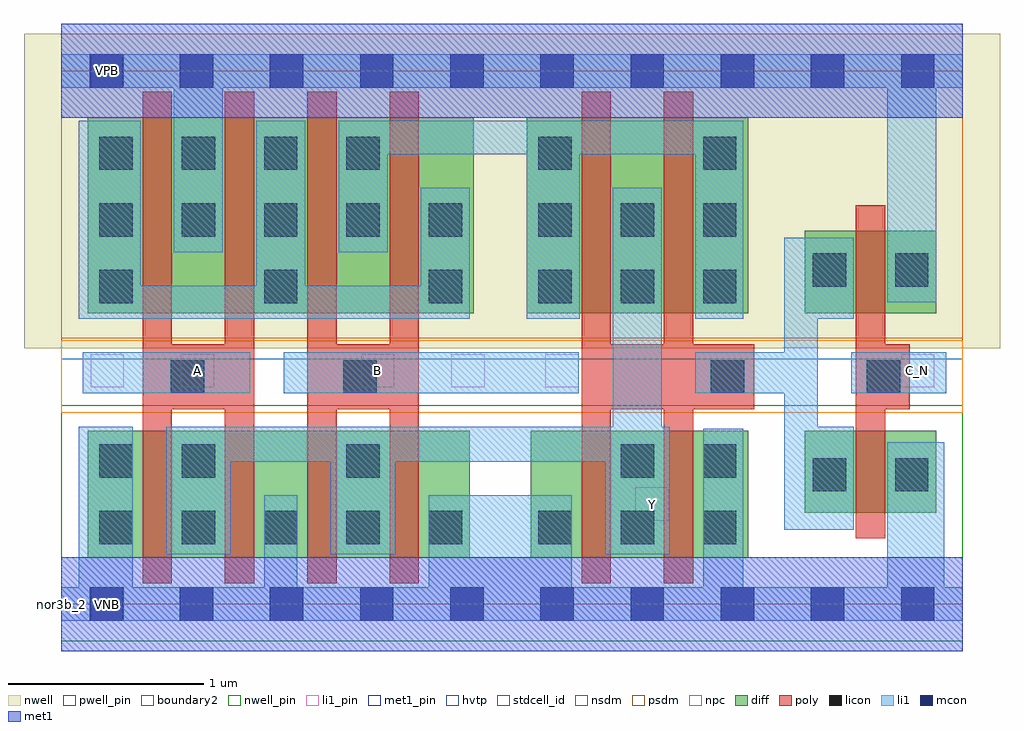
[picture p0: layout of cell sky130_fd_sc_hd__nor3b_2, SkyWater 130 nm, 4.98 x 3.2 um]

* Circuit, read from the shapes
.subckt sky130_fd_sc_hd__nor3b_2 A B C_N VGND VNB VPB VPWR Y
XM1 Y A VGND VNB sky130_fd_pr__nfet_01v8 w=0.65 l=0.15 m=2
XM2 Y B VGND VNB sky130_fd_pr__nfet_01v8 w=0.65 l=0.15 m=2
XM3 Y n1 VGND VNB sky130_fd_pr__nfet_01v8 w=0.65 l=0.15 m=2
XM4 VGND C_N n1 VNB sky130_fd_pr__nfet_01v8 w=0.42 l=0.15
XM5 VPWR A n2 VPB sky130_fd_pr__pfet_01v8_hvt w=1 l=0.15 m=2
XM6 n3 B n2 VPB sky130_fd_pr__pfet_01v8_hvt w=1 l=0.15 m=2
XM7 Y n1 n3 VPB sky130_fd_pr__pfet_01v8_hvt w=1 l=0.15 m=2
XM8 VPWR C_N n1 VPB sky130_fd_pr__pfet_01v8_hvt w=0.42 l=0.15
.ends

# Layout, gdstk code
import gdstk
lib = gdstk.Library(unit=1e-6, precision=1e-09)
def R(c, l, rs):  # rectangles x0, y0, x1, y1
    for r in rs: c.add(gdstk.rectangle(r[:2], r[2:], *l))
def A(c, l, x, y, w, h, nx, ny, dx, dy):  # array of equal rectangles
    R(c, l, [(x+i*dx, y+j*dy, x+i*dx+w, y+j*dy+h) for i in range(nx) for j in range(ny)])
def P(c, l, *ps):  # polygons
    for p in ps: c.add(gdstk.Polygon(p, *l))
nwell_pin = (64, 16)
nwell = (64, 20)
diff = (65, 20)
poly = (66, 20)
licon = (66, 44)
li1_pin = (67, 16)
li1 = (67, 20)
mcon = (67, 44)
met1_pin = (68, 16)
met1 = (68, 20)
hvtp = (78, 44)
stdcell_id = (81, 4)
nsdm = (93, 44)
psdm = (94, 20)
npc = (95, 20)
pwell_pin = (122, 16)
boundary2 = (236, 0)

sky130_fd_sc_hd__nor3b_2 = lib.new_cell('sky130_fd_sc_hd__nor3b_2')
R(sky130_fd_sc_hd__nor3b_2, nwell_pin, [(0.15,2.635,0.32,2.805)])
R(sky130_fd_sc_hd__nor3b_2, nwell, [(-0.19,1.305,4.79,2.91)])
R(sky130_fd_sc_hd__nor3b_2, diff, [(0.135,0.235,2.085,0.885), (2.395,0.235,3.505,0.885), (3.795,0.465,4.465,0.885), (0.135,1.485,2.105,2.485), (2.375,1.485,3.505,2.485), (3.795,1.485,4.465,1.905)])
R(sky130_fd_sc_hd__nor3b_2, poly, [(4.055,0.335,4.205,0.995), (4.055,0.995,4.33,1.325), (4.055,1.325,4.205,2.035)])
P(sky130_fd_sc_hd__nor3b_2, poly, [(1.825,2.615),(1.675,2.615),(1.675,1.325),(1.405,1.325),(1.405,2.615),(1.255,2.615),(1.255,0.105),(1.405,0.105),(1.405,0.995),(1.675,0.995),(1.675,0.105),(1.825,0.105)],
  [(3.535,1.325),(3.225,1.325),(3.225,2.615),(3.075,2.615),(3.075,1.325),(2.805,1.325),(2.805,2.615),(2.655,2.615),(2.655,0.105),(2.805,0.105),(2.805,0.995),(3.075,0.995),(3.075,0.105),(3.225,0.105),(3.225,0.995),(3.535,0.995)],
  [(0.985,2.615),(0.835,2.615),(0.835,1.325),(0.565,1.325),(0.565,2.615),(0.415,2.615),(0.415,0.105),(0.565,0.105),(0.565,0.995),(0.835,0.995),(0.835,0.105),(0.985,0.105)])
A(sky130_fd_sc_hd__nor3b_2, licon, 0.195, 0.305, 0.17, 0.17, 5, 2, 0.42, 1.57)
A(sky130_fd_sc_hd__nor3b_2, licon, 2.435, 0.305, 0.17, 0.17, 3, 2, 0.42, 1.23)
A(sky130_fd_sc_hd__nor3b_2, licon, 0.195, 1.535, 0.17, 0.17, 3, 1, 0.84, 0)
A(sky130_fd_sc_hd__nor3b_2, licon, 2.435, 1.875, 0.17, 0.17, 3, 1, 0.42, 0)
A(sky130_fd_sc_hd__nor3b_2, licon, 0.195, 2.215, 0.17, 0.17, 4, 1, 0.42, 0)
R(sky130_fd_sc_hd__nor3b_2, licon, [(3.835,0.575,4.005,0.745), (4.255,0.575,4.425,0.745), (0.195,0.645,0.365,0.815), (0.615,0.645,0.785,0.815), (1.455,0.645,1.625,0.815), (2.855,0.645,3.025,0.815), (3.275,0.645,3.445,0.815), (0.56,1.075,0.73,1.245), (1.44,1.075,1.61,1.245), (3.315,1.075,3.485,1.245), (4.11,1.075,4.28,1.245), (3.835,1.62,4.005,1.79), (4.255,1.62,4.425,1.79), (2.435,2.215,2.605,2.385), (3.275,2.215,3.445,2.385)])
R(sky130_fd_sc_hd__nor3b_2, li1_pin, [(2.93,0.425,3.1,0.595), (0.15,1.105,0.32,1.275), (0.61,1.105,0.78,1.275), (1.53,1.105,1.7,1.275), (1.99,1.105,2.16,1.275), (2.47,1.105,2.64,1.275), (4.285,1.105,4.455,1.275)])
R(sky130_fd_sc_hd__nor3b_2, li1, [(0.11,1.075,0.965,1.285), (1.135,1.075,2.64,1.285), (4.03,1.075,4.515,1.285)])
P(sky130_fd_sc_hd__nor3b_2, li1, [(4.6,0.085),(4.505,0.085),(4.505,0.825),(4.215,0.825),(4.215,0.085),(3.48,0.085),(3.48,0.895),(3.275,0.895),(3.275,0.085),(2.605,0.085),(2.605,0.555),(1.875,0.555),(1.875,0.085),(1.205,0.085),(1.205,0.555),(1.035,0.555),(1.035,0.085),(0.365,0.085),(0.365,0.905),(0.09,0.905),(0.09,0.085),(0,0.085),(0,-0.085),(4.6,-0.085)],
  [(4.6,2.805),(0,2.805),(0,2.635),(0.575,2.635),(0.575,1.795),(0.825,1.795),(0.825,2.635),(4.215,2.635),(4.215,1.54),(4.465,1.54),(4.465,2.635),(4.6,2.635)],
  [(2.085,2.125),(1.835,2.125),(1.835,1.625),(1.245,1.625),(1.245,2.465),(0.995,2.465),(0.995,1.625),(0.405,1.625),(0.405,2.465),(0.09,2.465),(0.09,1.455),(2.085,1.455)],
  [(3.105,0.905),(3.065,0.905),(3.065,2.125),(2.815,2.125),(2.815,0.905),(0.535,0.905),(0.535,0.255),(0.865,0.255),(0.865,0.725),(1.375,0.725),(1.375,0.255),(1.705,0.255),(1.705,0.725),(2.775,0.725),(2.775,0.255),(3.105,0.255)],
  [(3.48,2.465),(1.415,2.465),(1.415,1.795),(1.665,1.795),(1.665,2.295),(2.375,2.295),(2.375,1.455),(2.645,1.455),(2.645,2.295),(3.235,2.295),(3.235,1.455),(3.48,1.455)],
  [(4.045,0.905),(3.86,0.905),(3.86,1.455),(4.045,1.455),(4.045,1.87),(3.69,1.87),(3.69,1.285),(3.235,1.285),(3.235,1.075),(3.69,1.075),(3.69,0.38),(4.045,0.38)])
A(sky130_fd_sc_hd__nor3b_2, mcon, 0.145, -0.085, 0.17, 0.17, 10, 2, 0.46, 2.72)
R(sky130_fd_sc_hd__nor3b_2, met1_pin, [(0.15,-0.085,0.32,0.085), (0.15,2.635,0.32,2.805)])
R(sky130_fd_sc_hd__nor3b_2, hvtp, [(0,1.25,4.6,2.72)])
R(sky130_fd_sc_hd__nor3b_2, stdcell_id, [(0,0,4.6,2.72)])
R(sky130_fd_sc_hd__nor3b_2, nsdm, [(0,-0.19,4.6,1.015)])
R(sky130_fd_sc_hd__nor3b_2, psdm, [(0,1.355,4.6,2.91)])
R(sky130_fd_sc_hd__nor3b_2, npc, [(0,0.975,4.6,1.345)])
R(sky130_fd_sc_hd__nor3b_2, pwell_pin, [(0.15,-0.085,0.32,0.085)])
R(sky130_fd_sc_hd__nor3b_2, boundary2, [(0,0,4.6,2.72)])
sky130_fd_sc_hd__nor3b_2.add(gdstk.FlexPath([(0,2.72),(4.6,2.72)], 0.48, ends="flush", simple_path=True, layer=68, datatype=20))  # met1
sky130_fd_sc_hd__nor3b_2.add(gdstk.FlexPath([(0,0),(4.6,0)], 0.48, ends="flush", simple_path=True, layer=68, datatype=20))  # met1
sky130_fd_sc_hd__nor3b_2.add(gdstk.Label('C_N', (4.37,1.19), layer=67, texttype=5))
sky130_fd_sc_hd__nor3b_2.add(gdstk.Label('Y', (3.015,0.51), layer=67, texttype=5))
sky130_fd_sc_hd__nor3b_2.add(gdstk.Label('A', (0.695,1.19), layer=67, texttype=5))
sky130_fd_sc_hd__nor3b_2.add(gdstk.Label('B', (1.615,1.19), layer=67, texttype=5))
sky130_fd_sc_hd__nor3b_2.add(gdstk.Label('VPB', (0.235,2.72), layer=64, texttype=5))
sky130_fd_sc_hd__nor3b_2.add(gdstk.Label('VNB', (0.235,0), layer=64, texttype=59))
sky130_fd_sc_hd__nor3b_2.add(gdstk.Label('VGND', (0.235,0), layer=68, texttype=5))
sky130_fd_sc_hd__nor3b_2.add(gdstk.Label('VPWR', (0.235,2.72), layer=68, texttype=5))
sky130_fd_sc_hd__nor3b_2.add(gdstk.Label('nor3b_2', (0,0), layer=83, texttype=44))

lib.write_gds('sky130_fd_sc_hd__nor3b_2.gds')
